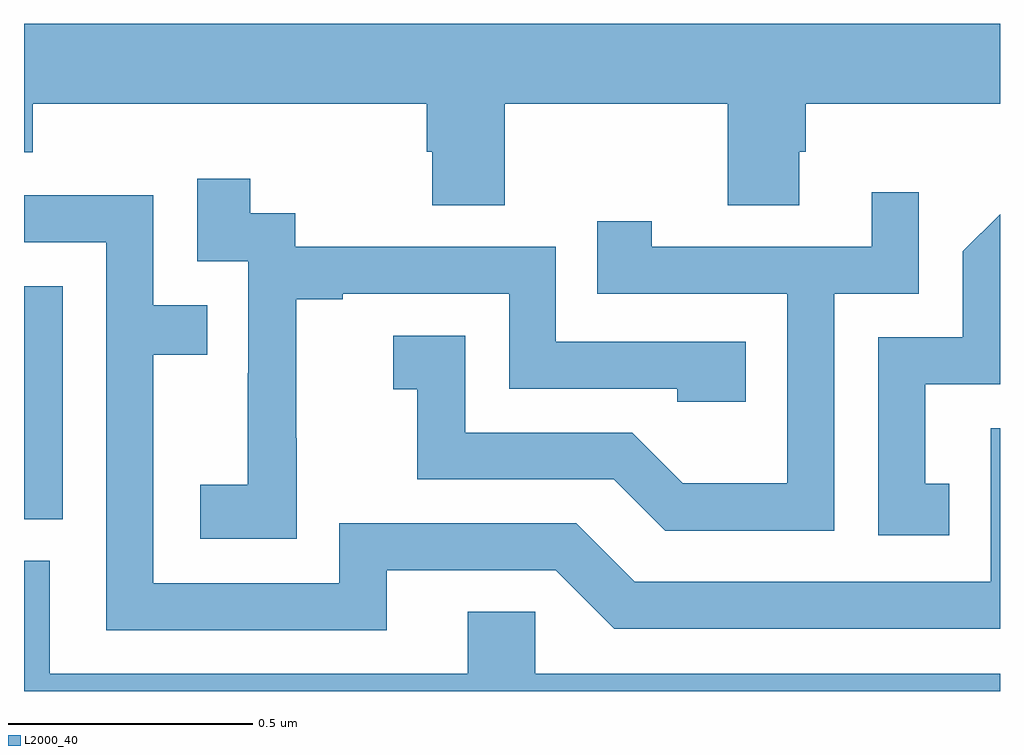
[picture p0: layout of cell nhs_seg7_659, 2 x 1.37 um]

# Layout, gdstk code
import gdstk
lib = gdstk.Library(unit=1e-6, precision=1e-09)
def R(c, l, rs):  # rectangles x0, y0, x1, y1
    for r in rs: c.add(gdstk.rectangle(r[:2], r[2:], *l))
def P(c, l, *ps):  # polygons
    for p in ps: c.add(gdstk.Polygon(p, *l))
L2000_40 = (2000, 40)

nhs_seg7_659 = lib.new_cell('nhs_seg7_659')
R(nhs_seg7_659, L2000_40, [(119,1078.353,119.079,1078.83)])
P(nhs_seg7_659, L2000_40, [(119.985,1079.204),(120.442,1079.204),(120.442,1078.996),(120.589,1078.996),(120.589,1079.106),(120.602,1079.106),(120.602,1079.204),(121,1079.204),(121,1079.368),(119,1079.368),(119,1079.105),(119.018,1079.105),(119.018,1079.204),(119.825,1079.204),(119.825,1079.106),(119.837,1079.106),(119.837,1078.996),(119.985,1078.996)],
  [(119.559,1078.519),(119.558,1078.519),(119.558,1078.803),(119.653,1078.803),(119.653,1078.815),(119.994,1078.815),(119.994,1078.62),(120.339,1078.62),(120.339,1078.593),(120.479,1078.593),(120.479,1078.716),(120.09,1078.716),(120.09,1078.911),(119.556,1078.911),(119.556,1078.98),(119.464,1078.98),(119.464,1079.05),(119.355,1079.05),(119.355,1078.881),(119.46,1078.881),(119.46,1078.652),(119.459,1078.652),(119.459,1078.423),(119.361,1078.423),(119.361,1078.313),(119.559,1078.313)],
  [(120.66,1078.815),(120.834,1078.815),(120.834,1079.023),(120.737,1079.023),(120.737,1078.911),(120.286,1078.911),(120.286,1078.963),(120.175,1078.963),(120.175,1078.815),(120.564,1078.815),(120.564,1078.426),(120.35,1078.426),(120.246,1078.53),(119.904,1078.53),(119.904,1078.729),(119.757,1078.729),(119.757,1078.619),(119.806,1078.619),(119.806,1078.434),(120.209,1078.434),(120.314,1078.329),(120.66,1078.329)],
  [(119.743,1078.248),(120.09,1078.248),(120.21,1078.128),(121,1078.128),(121,1078.539),(120.981,1078.539),(120.981,1078.224),(120.252,1078.224),(120.132,1078.344),(119.646,1078.344),(119.646,1078.221),(119.265,1078.221),(119.265,1078.69),(119.375,1078.69),(119.375,1078.791),(119.265,1078.791),(119.265,1079.016),(119,1079.016),(119,1078.92),(119.169,1078.92),(119.169,1078.125),(119.743,1078.125)],
  [(120.896,1078.425),(120.847,1078.425),(120.847,1078.629),(121,1078.629),(121,1078.978),(120.924,1078.902),(120.924,1078.725),(120.75,1078.725),(120.75,1078.32),(120.896,1078.32)],
  [(121,1078.036),(120.048,1078.036),(120.048,1078.163),(119.909,1078.163),(119.909,1078.036),(119.053,1078.036),(119.053,1078.268),(119,1078.268),(119,1078),(121,1078)])

lib.write_gds('nhs_seg7_659.gds')
